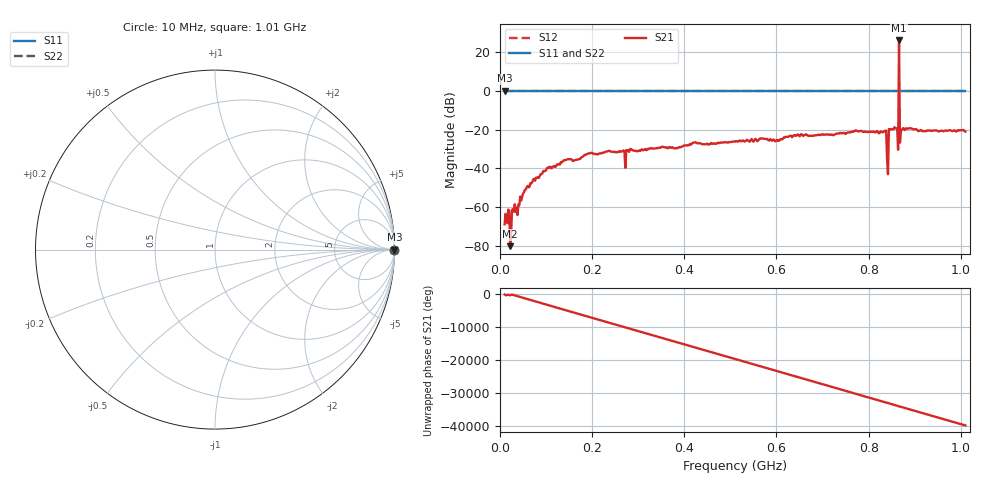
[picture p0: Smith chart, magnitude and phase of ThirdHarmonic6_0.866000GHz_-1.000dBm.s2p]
! 8/16/2025 4:36:57 AM
! C:\ANRITSUVNA\TEMP\TEMP.S2P
! CHANNEL.1
! TR.MEASUREMENT
! RAW.DATA
! RF.CORRECTION.OFF
! AVERAGING.OFF
! IF.BANDWIDTH: 5KHZ
! SWEEPTYPE:  FREQ.SWEEP(Linear)
! Reference Plane Port Info
! PORT:  PORT1  PORT2
! DISTANCE:  0  m  0  m
! TIME:  0  s  0  s
! PHASE.OFFSET:  0  deg.  0  deg.
! LOSS:  0  dB  0  dB
! REF.LOSS:  0  dB  0  dB
! REF.FREQ:  0  Hz  0  Hz
! Power Info
! POWER:  -20  dBm  -20  dBm
! EFF.POWER:  -20  dBm  -20  dBm
! SOURCE.ATTEN:  0  dB  0  dB
! TEST.ATTEN:  0  dB  0  dB
# GHZ S RI R 50.0
! FREQ.GHZ  S11RE  S11IM  S21RE  S21IM  S12RE  S12IM  S22RE  S22IM
!; PortSelection: Port_12
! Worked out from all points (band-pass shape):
!   501 points, 10 MHz to 1.01 GHz, reference 50 ohm
!   highest |S21| = 25.81 dB at 866 MHz (marker M1); lowest = -79.9 dB at 22 MHz (marker M2)
!   |S21| within 3 dB of the highest: 865.8932 MHz to 866.1143 MHz (221.1 kHz wide, 0.0255 % of centre)
!   lowest |S11| = 0.0 dB at 10 MHz (marker M3)
!   |S11| at or under -10 dB: nowhere
!   |S22| runs from 0.0 to 0.0 dB; largest |S21 - S12| = 20
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0.01  1 0  -0.000179 -0.000321  1 0  1 0
0.016  1 0  -0.000386 7.03e-05  1 0  1 0
0.022  1 0  9.92e-05 1.8e-05  1 0  1 0
0.026  1 0  -0.00061 -0.000605  1 0  1 0
0.03  1 0  0.000129 0.000769  1 0  1 0
0.038  1 0  8.47e-05 0.000631  1 0  1 0
0.07  1 0  -0.00173 -0.00407  1 0  1 0
0.106  1 0  -0.00781 -0.00669  1 0  1 0
0.178  1 0  -0.0193 -0.00263  1 0  1 0
0.344  1 0  0.0306 -0.0143  1 0  1 0
0.51  1 0  -0.0374 0.0312  1 0  1 0
0.678  1 0  -0.0561 -0.0392  1 0  1 0
0.834  1 0  0.0632 0.0658  1 0  1 0
0.838  1 0  -0.0442 -0.083  1 0  1 0
0.844  1 0  0.1033 0.00393  1 0  1 0
0.848  1 0  -0.0955 -0.0335  1 0  1 0
0.86  1 0  0.0348 0.0996  1 0  1 0
0.862  1 0  0.1075 -0.0138  1 0  1 0
0.866  1 0  -9.208 17.2  1 0  1 0
0.87  1 0  0.0897 0.0333  1 0  1 0
0.872  1 0  0.0575 -0.0797  1 0  1 0
1.01  1 0  -0.0612 0.0646  1 0  1 0
